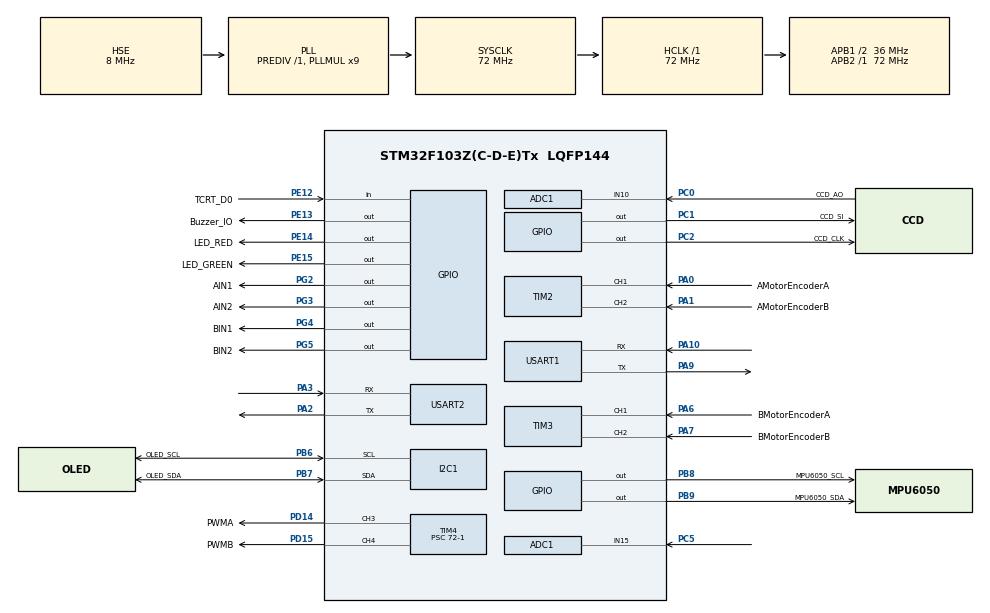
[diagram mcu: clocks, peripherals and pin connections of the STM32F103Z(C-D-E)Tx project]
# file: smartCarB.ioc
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ADC1.Channel-5\#ChannelRegularConversion=ADC_CHANNEL_15
ADC1.ContinuousConvMode=DISABLE
ADC1.NbrOfConversion=1
ADC1.NbrOfConversionFlag=1
ADC1.Rank-5\#ChannelRegularConversion=1
ADC1.SamplingTime-5\#ChannelRegularConversion=ADC_SAMPLETIME_239CYCLES_5
ADC1.master=1
Mcu.Family=STM32F1
Mcu.Name=STM32F103Z(C-D-E)Tx
Mcu.Package=LQFP144
NVIC.PriorityGroup=NVIC_PRIORITYGROUP_4
NVIC.TIM1_UP_IRQn=true\:1\:0\:true\:false\:true\:true\:true\:true
OSC_IN.Mode=HSE-External-Oscillator
OSC_IN.Signal=RCC_OSC_IN
OSC_OUT.Mode=HSE-External-Oscillator
OSC_OUT.Signal=RCC_OSC_OUT
PA0-WKUP.GPIO_Label=AMotorEncoderA
PA0-WKUP.Signal=S_TIM2_CH1_ETR
PA1.GPIO_Label=AMotorEncoderB
PA1.Signal=S_TIM2_CH2
PA10.Mode=Asynchronous
PA10.Signal=USART1_RX
PA13.Mode=Serial_Wire
PA13.Signal=SYS_JTMS-SWDIO
PA14.Mode=Serial_Wire
PA14.Signal=SYS_JTCK-SWCLK
PA2.Mode=Asynchronous
PA2.Signal=USART2_TX
PA3.Mode=Asynchronous
PA3.Signal=USART2_RX
PA6.GPIO_Label=BMotorEncoderA
PA6.GPIO_PuPd=GPIO_PULLUP
PA6.Signal=S_TIM3_CH1
PA7.GPIO_Label=BMotorEncoderB
PA7.GPIO_PuPd=GPIO_PULLUP
PA7.Signal=S_TIM3_CH2
PA9.Mode=Asynchronous
PA9.Signal=USART1_TX
PB6.GPIO_Label=OLED_SCL
PB6.Mode=I2C
PB6.Signal=I2C1_SCL
PB7.GPIO_Label=OLED_SDA
PB7.Mode=I2C
PB7.Signal=I2C1_SDA
PB8.GPIO_Label=MPU6050_SCL
PB8.GPIO_ModeDefaultOutputPP=GPIO_MODE_OUTPUT_OD
PB8.GPIO_PuPd=GPIO_PULLUP
PB8.GPIO_Speed=GPIO_SPEED_FREQ_HIGH
PB8.PinState=GPIO_PIN_RESET
PB8.Signal=GPIO_Output
PB9.GPIO_Label=MPU6050_SDA
PB9.GPIO_ModeDefaultOutputPP=GPIO_MODE_OUTPUT_OD
PB9.GPIO_PuPd=GPIO_PULLUP
PB9.GPIO_Speed=GPIO_SPEED_FREQ_HIGH
PB9.Signal=GPIO_Output
PC0.GPIO_Label=CCD_AO
PC0.Signal=ADCx_IN10
PC1.GPIO_Label=CCD_SI
PC1.GPIO_ModeDefaultOutputPP=GPIO_MODE_OUTPUT_PP
PC1.GPIO_PuPd=GPIO_PULLUP
PC1.GPIO_Speed=GPIO_SPEED_FREQ_MEDIUM
PC1.PinState=GPIO_PIN_SET
PC1.Signal=GPIO_Output
PC14-OSC32_IN.Mode=LSE-External-Oscillator
PC14-OSC32_IN.Signal=RCC_OSC32_IN
PC15-OSC32_OUT.Mode=LSE-External-Oscillator
PC15-OSC32_OUT.Signal=RCC_OSC32_OUT
PC2.GPIO_Label=CCD_CLK
PC2.GPIO_PuPd=GPIO_PULLUP
PC2.GPIO_Speed=GPIO_SPEED_FREQ_MEDIUM
PC2.PinState=GPIO_PIN_SET
PC2.Signal=GPIO_Output
PC5.Signal=ADCx_IN15
PD14.GPIO_Label=PWMA
PD14.Signal=S_TIM4_CH3
PD15.GPIO_Label=PWMB
PD15.Signal=S_TIM4_CH4
PE12.GPIO_Label=TCRT_D0
PE12.Signal=GPIO_Input
PE13.GPIO_Label=Buzzer_IO
PE13.Signal=GPIO_Output
PE14.GPIO_Label=LED_RED
PE14.Signal=GPIO_Output
PE15.GPIO_Label=LED_GREEN
PE15.Signal=GPIO_Output
PG2.GPIO_Label=AIN1
PG2.Signal=GPIO_Output
PG3.GPIO_Label=AIN2
PG3.Signal=GPIO_Output
PG4.GPIO_Label=BIN1
PG4.Signal=GPIO_Output
PG5.GPIO_Label=BIN2
PG5.Signal=GPIO_Output
ProjectManager.HeapSize=0x200
ProjectManager.StackSize=0x400
ProjectManager.TargetToolchain=MDK-ARM V5
RCC.ADCPresc=RCC_ADCPCLK2_DIV6
RCC.AHBFreq_Value=72000000
RCC.APB1CLKDivider=RCC_HCLK_DIV2
RCC.APB1Freq_Value=36000000
RCC.APB1TimFreq_Value=72000000
RCC.APB2Freq_Value=72000000
RCC.APB2TimFreq_Value=72000000
RCC.HCLKFreq_Value=72000000
RCC.PLLMUL=RCC_PLL_MUL9
RCC.PLLSourceVirtual=RCC_PLLSOURCE_HSE
RCC.SYSCLKFreq_VALUE=72000000
RCC.SYSCLKSource=RCC_SYSCLKSOURCE_PLLCLK
RCC.USBFreq_Value=72000000
SH.ADCx_IN10.0=ADC1_IN10,IN10
SH.ADCx_IN15.0=ADC1_IN15,IN15
SH.S_TIM2_CH1_ETR.0=TIM2_CH1,Encoder_Interface
SH.S_TIM2_CH2.0=TIM2_CH2,Encoder_Interface
SH.S_TIM3_CH1.0=TIM3_CH1,Encoder_Interface
SH.S_TIM3_CH2.0=TIM3_CH2,Encoder_Interface
SH.S_TIM4_CH3.0=TIM4_CH3,PWM Generation3 CH3
SH.S_TIM4_CH4.0=TIM4_CH4,PWM Generation4 CH4
TIM1.AutoReloadPreload=TIM_AUTORELOAD_PRELOAD_ENABLE
TIM1.Period=10000-1
TIM1.Prescaler=72-1
TIM2.AutoReloadPreload=TIM_AUTORELOAD_PRELOAD_ENABLE
TIM2.EncoderMode=TIM_ENCODERMODE_TI12
TIM3.AutoReloadPreload=TIM_AUTORELOAD_PRELOAD_ENABLE
TIM3.EncoderMode=TIM_ENCODERMODE_TI12
TIM3.IC1Filter=6
TIM3.IC2Filter=6
TIM4.AutoReloadPreload=TIM_AUTORELOAD_PRELOAD_DISABLE
TIM4.Channel-PWM\ Generation3\ CH3=TIM_CHANNEL_3
TIM4.Channel-PWM\ Generation4\ CH4=TIM_CHANNEL_4
TIM4.Period=100-1
TIM4.Prescaler=72-1
USART1.VirtualMode=VM_ASYNC
USART2.VirtualMode=VM_ASYNC
VP_TIM1_VS_ClockSourceINT.Mode=Internal
VP_TIM4_VS_ClockSourceINT.Mode=Internal
board=custom

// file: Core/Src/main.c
/* USER CODE BEGIN Header */
/**
 ******************************************************************************
 * @file           : main.c
 * @brief          : Main program body
 ******************************************************************************
 * @attention
 *
 * Copyright (c) 2023 STMicroelectronics.
 * All rights reserved.
 *
 * This software is licensed under terms that can be found in the LICENSE file
 * in the root directory of this software component.
 * If no LICENSE file comes with this software, it is provided AS-IS.
 *
 ******************************************************************************
 */
/* USER CODE END Header */
#include "main.h"
#include "adc.h"
#include "i2c.h"
#include "tim.h"
#include "usart.h"
#include "gpio.h"

/* USER CODE BEGIN Includes */
#include "motor.h"
#include "pid.h"
#include "oled.h"
#include "stdio.h"
#include "string.h"
/* USER CODE END Includes */

/* USER CODE BEGIN PTD */
PID leftMotor_PID;
PID rightMotor_PID;
PID trailMotor_PID;
/* USER CODE END PTD */

/* USER CODE BEGIN PV */
int testPWM = 20;
char voltage[20];
char mpuString[10];
char speedString[22];
char CCDString[20];
char colorPostion[20];
int tim1Count = 0; // 中断计时
float batteryVoltage = 0.0;
float pitch, roll, yaw;    // 欧拉角
short gyrox, gyroy, gyroz; // 陀螺仪原始数据
float refrenceAngle = 0.0;

uint32_t CCD_Value[128]; // CCD数据数组
uint32_t Threshold = 0;  // CCD阈值

short encoderPulse[2] = {0}; // 编码器脉冲数
float leftSpeed = 0, rightSpeed = 0;
int direction = 0; // 前进方向，0为去程，1为返程，2为结束

float leftTargetSpeed = 0.10, rightTargetSpeed = 0.10;

uint8_t Uart2RxBuff;         // 进入中断接收数据的数组
uint8_t Uart2DataBuff[5000]; // 保存接收到的数据的数组
int RxLine = 0;              // 接收到的数据长度
int Uart2RxFlag = 0;         // 串口2接收标志位

int RedX = 0, RedY = 0;
int Basic_1_Status = 0, Basic_2_Status = 0;

int girdsNum = -1;      // 格子数量
int girdsNumStatus = 0; // 格子数量状态量，用于判断是否持续扫描到黑线
int backStatus = 0;     // 基础1返程标志

int ledGreenCount = 0;
/* USER CODE END PV */

void SystemClock_Config(void);

int main(void)
{

  /* MCU Configuration--------------------------------------------------------*/

  /* Reset of all peripherals, Initializes the Flash interface and the Systick. */
  HAL_Init();

  /* Configure the system clock */
  SystemClock_Config();

  /* Initialize all configured peripherals */
  MX_GPIO_Init();
  MX_TIM1_Init();
  MX_TIM3_Init();
  MX_TIM4_Init();
  MX_USART1_UART_Init();
  MX_USART2_UART_Init();
  MX_ADC1_Init();
  MX_I2C1_Init();
  MX_TIM2_Init();
  /* USER CODE BEGIN 2 */
  OLED_Init(); // 初始化OLED
  OLED_Clear();

  HAL_TIM_Base_Start_IT(&htim1);                 // 启动定时器1中断
  HAL_UART_Receive_IT(&huart2, &Uart2RxBuff, 1); // 串口2接收中断
  HAL_TIM_PWM_Start(&htim4, TIM_CHANNEL_3);
  HAL_TIM_PWM_Start(&htim4, TIM_CHANNEL_4);
  HAL_TIM_Encoder_Start(&htim2, TIM_CHANNEL_1);
  HAL_TIM_Encoder_Start(&htim2, TIM_CHANNEL_2);
  HAL_TIM_Encoder_Start(&htim3, TIM_CHANNEL_1);
  HAL_TIM_Encoder_Start(&htim3, TIM_CHANNEL_2); // start encoder timer
  __HAL_TIM_ENABLE_IT(&htim2, TIM_IT_UPDATE);
  __HAL_TIM_ENABLE_IT(&htim3, TIM_IT_UPDATE); // start encoder timer to update interrupts and prevent overflow processing

  __HAL_TIM_SET_COUNTER(&htim2, 0);
  __HAL_TIM_SET_COUNTER(&htim3, 0); // initialize encoder timing and set it to 3000

  Speed_PID_Init(&leftMotor_PID);
  Speed_PID_Init(&rightMotor_PID);
  Trail_PID_Init(&trailMotor_PID);
  /* USER CODE END 2 */

  /* Infinite loop */
  /* USER CODE BEGIN WHILE */
  while (1)
  {
    Main_Loop();
    MotorControl(leftMotor_PID.PWM, rightMotor_PID.PWM);
    /* USER CODE END WHILE */

  }
}

void SystemClock_Config(void)
{
  RCC_OscInitTypeDef RCC_OscInitStruct = {0};
  RCC_ClkInitTypeDef RCC_ClkInitStruct = {0};
  RCC_PeriphCLKInitTypeDef PeriphClkInit = {0};

  /** Initializes the RCC Oscillators according to the specified parameters
  * in the RCC_OscInitTypeDef structure.
  */
  RCC_OscInitStruct.OscillatorType = RCC_OSCILLATORTYPE_HSE;
  RCC_OscInitStruct.HSEState = RCC_HSE_ON;
  RCC_OscInitStruct.HSEPredivValue = RCC_HSE_PREDIV_DIV1;
  RCC_OscInitStruct.HSIState = RCC_HSI_ON;
  RCC_OscInitStruct.PLL.PLLState = RCC_PLL_ON;
  RCC_OscInitStruct.PLL.PLLSource = RCC_PLLSOURCE_HSE;
  RCC_OscInitStruct.PLL.PLLMUL = RCC_PLL_MUL9;
  if (HAL_RCC_OscConfig(&RCC_OscInitStruct) != HAL_OK)
  {
    Error_Handler();
  }

  /** Initializes the CPU, AHB and APB buses clocks
  */
  RCC_ClkInitStruct.ClockType = RCC_CLOCKTYPE_HCLK|RCC_CLOCKTYPE_SYSCLK
                              |RCC_CLOCKTYPE_PCLK1|RCC_CLOCKTYPE_PCLK2;
  RCC_ClkInitStruct.SYSCLKSource = RCC_SYSCLKSOURCE_PLLCLK;
  RCC_ClkInitStruct.AHBCLKDivider = RCC_SYSCLK_DIV1;
  RCC_ClkInitStruct.APB1CLKDivider = RCC_HCLK_DIV2;
  RCC_ClkInitStruct.APB2CLKDivider = RCC_HCLK_DIV1;

  if (HAL_RCC_ClockConfig(&RCC_ClkInitStruct, FLASH_LATENCY_2) != HAL_OK)
  {
    Error_Handler();
  }
  PeriphClkInit.PeriphClockSelection = RCC_PERIPHCLK_ADC;
  PeriphClkInit.AdcClockSelection = RCC_ADCPCLK2_DIV6;
  if (HAL_RCCEx_PeriphCLKConfig(&PeriphClkInit) != HAL_OK)
  {
    Error_Handler();
  }
}

/* USER CODE BEGIN 4 */
void HAL_TIM_PeriodElapsedCallback(TIM_HandleTypeDef *htim)
{
  ledGreenCount++;
  tim1Count++;
  if (htim == &htim1) // htim1 100Hz 10ms
  {
    // GirdsNumber();
    GetEncoderPulse();
    leftSpeed = CalActualSpeed(encoderPulse[0]); // 获得当前的速度值
    rightSpeed = CalActualSpeed(encoderPulse[1]);

    Speed_PID(leftTargetSpeed, leftSpeed, &leftMotor_PID); // 根据目标速度和实际速度计算PID参数
    Speed_PID(rightTargetSpeed, rightSpeed, &rightMotor_PID);

    MotorControl(leftMotor_PID.PWM, rightMotor_PID.PWM);

    // MotorControl(25, 25);

    // printf("data:%.2f,%.2f,%.2f\r\n", leftSpeed, rightSpeed, leftTargetSpeed);
    // printf("x = %d, y = %d\r\n", RedX, RedY);

    //-----------------------获取电压值-------------------------------------------------
    // if (tim1Count > 100) // 1S
    // {
    //   batteryVoltage = adcGetBatteryVoltage();
    //   tim1Count = 0;
    // }
    // //-----------------------绿灯闪烁2S-------------------------------------------------
    // if (ledGreenCount > 200 && direction != 2) // 2S
    // {
    //   HAL_GPIO_TogglePin(LED_GREEN_GPIO_Port, LED_GREEN_Pin); // 绿灯闪烁
    //   ledGreenCount = 0;
    // }
    // //-----------------------基础1部分---------------------------------------------------
    // if (Basic_1_Status == 0 && Basic_2_Status == 0)
    // {
    //   //---------------------基础1去程--------------------------------------------------
    //   if (direction == 0 && backStatus == 0)
    //   {
    //     if (RedY < 225)
    //     {
    //       Trail_PID(RedX, &trailMotor_PID);
    //       leftTargetSpeed = 0.10 + trailMotor_PID.Un;
    //       rightTargetSpeed = 0.10 - trailMotor_PID.Un;
    //     }
    //     else
    //     {
    //       RedX = 60;
    //       Trail_PID(RedX, &trailMotor_PID);
    //       leftTargetSpeed = 0.10 + trailMotor_PID.Un;
    //       rightTargetSpeed = 0.10 - trailMotor_PID.Un;
    //     }
    //     if (girdsNum == 25) // 去程抵达终点
    //     {
    //       backStatus = 1;
    //       direction = 1; // 进入返程模式
    //       // girdsNum = -1; // 格子计数清零
    //     }
    //     MotorControl(leftMotor_PID.PWM, rightMotor_PID.PWM);
    //   }
    //   //---------------------基础1抵达终点后至返程前-----------------------------------
    //   else if (direction == 1 && backStatus == 1)
    //   {
    //     MotorControl(leftMotor_PID.PWM, rightMotor_PID.PWM);
    //   }
    //   //---------------------基础1返程------------------------------------------------
    //   else if (direction == 1 && backStatus == 2)
    //   {
    //     if (RedY < 225)
    //     {
    //       Trail_PID(RedX, &trailMotor_PID);
    //       leftTargetSpeed = 0.10 + trailMotor_PID.Un;
    //       rightTargetSpeed = 0.10 - trailMotor_PID.Un;
    //     }
    //     else
    //     {
    //       RedX = 260;
    //       Trail_PID(RedX, &trailMotor_PID);
    //       leftTargetSpeed = 0.10 + trailMotor_PID.Un;
    //       rightTargetSpeed = 0.10 - trailMotor_PID.Un;
    //     }
    //     if (girdsNum == 9) // T型路口直接右转
    //     {
    //       RedX = 260;
    //       Trail_PID(RedX, &trailMotor_PID);
    //       leftTargetSpeed = 0.10 + trailMotor_PID.Un;
    //       rightTargetSpeed = 0.10 - trailMotor_PID.Un;
    //     }
    //     else if (girdsNum == 25) // 返程抵达起始点1
    //     {
    //       backStatus = 3;
    //       direction = 2; // 返程结束
    //       // girdsNum = -1; // 格子计数清零
    //     }
    //     MotorControl(leftMotor_PID.PWM, rightMotor_PID.PWM);
    //   }
    //   //----------------------基础1结束------------------------------------------------
    //   else if (direction == 2)
    //   {
    //   }
    // }
  }
}

void Main_Loop()
{
  OLEDShow();
  // Basic_1();
}

void Basic_1()
{
  if (direction != 2)
  {
    if (direction == 1 && backStatus == 1) // 返程
    {
      leftTargetSpeed = 0;
      rightTargetSpeed = 0; // 停车
      BUZZER_ON;
      HAL_Delay(400);
      BUZZER_OFF;      // 蜂鸣示意抵达终点
      HAL_Delay(5000); // 等待5秒

      leftTargetSpeed = 0.10;
      rightTargetSpeed = -0.10; // 原地掉头，准备返程
      HAL_Delay(2800);

      backStatus = 2;
    }
  }
  else if (direction == 2 && backStatus == 3) // 停止工作
  {
    leftTargetSpeed = 0;
    rightTargetSpeed = 0;
    HAL_Delay(100);
    LED_GREEN_OFF;
    MotorControl(0, 0);
  }
}

void Basic_2()
{
}

void Buzzer() // 蜂鸣器鸣叫200ms，间隔1秒
{
  BUZZER_ON;
  HAL_Delay(200);
  BUZZER_OFF;
  HAL_Delay(1000);
}

void LED_GREEN_2S()
{
  LED_GREEN_ON;
  HAL_Delay(2000);
  LED_GREEN_OFF;
  HAL_Delay(2000);
}
void LED_RED_1S()
{
  LED_RED_ON;
  HAL_Delay(1000);
  LED_RED_OFF;
}

void GirdsNumber()
{

  if (TCRT == 0) // 扫描到黑线
  {
    girdsNumStatus++;

    if (girdsNumStatus == 5)
    {
      if (direction == 0 && backStatus == 0)      // 基础1去程
        girdsNum++;                               // 格子数量加1
      else if (direction == 1 && backStatus == 2) // 基础1返程
        girdsNum--;                               // 格子数量减1
    }
  }
  else if (TCRT == 1) // 未扫描到黑线
    girdsNumStatus = 0;
}

void OLEDShow()
{
  sprintf(voltage, "batteryVoltage:%.1fV", batteryVoltage);
  OLED_ShowString(0, 0, (char *)voltage, 12, 0);

  sprintf(speedString, "A:%.2fm/s B:%.2fm/s", leftSpeed, rightSpeed);
  OLED_ShowString(0, 2, (char *)speedString, 12, 0);

  sprintf(colorPostion, "x:%d ", RedX);
  OLED_ShowString(0, 4, (char *)colorPostion, 12, 0);
  sprintf(colorPostion, "y:%d ", RedY);
  OLED_ShowString(60, 4, (char *)colorPostion, 12, 0);

  sprintf(colorPostion, "girdNum:%d    ", girdsNum);
  OLED_ShowString(0, 6, (char *)colorPostion, 12, 0);
}
/* USER CODE END 4 */

void Error_Handler(void)
{
  __disable_irq();
  while (1)
  {
  }
}
